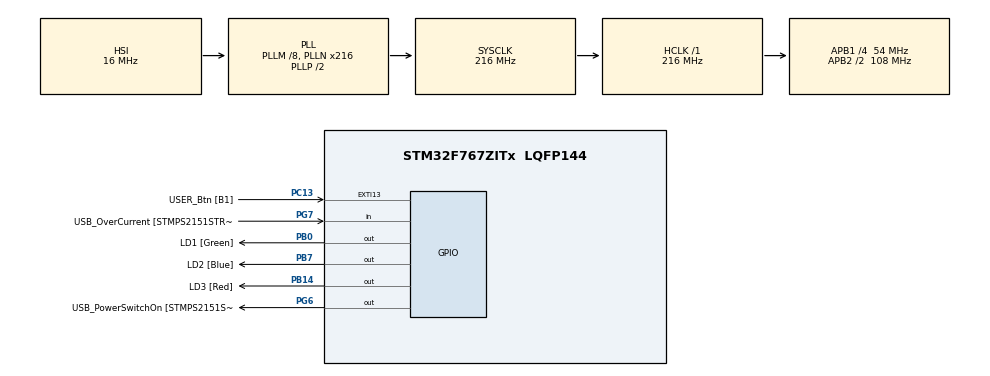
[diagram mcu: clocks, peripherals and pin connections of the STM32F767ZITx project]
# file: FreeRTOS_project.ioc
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Mcu.Family=STM32F7
Mcu.Name=STM32F767ZITx
Mcu.Package=LQFP144
NVIC.PriorityGroup=NVIC_PRIORITYGROUP_4
NVIC.TIM6_DAC_IRQn=true\:0\:0\:true\:false\:true\:false\:true\:true
NVIC.TimeBase=TIM6_DAC_IRQn
NVIC.TimeBaseIP=TIM6
PA1.GPIO_Label=RMII_REF_CLK [LAN8742A-CZ-TR_REFCLK0]
PA1.Signal=ETH_REF_CLK
PA10.GPIO_Label=USB_ID
PA10.Signal=USB_OTG_FS_ID
PA11.GPIO_Label=USB_DM
PA11.Signal=USB_OTG_FS_DM
PA12.GPIO_Label=USB_DP
PA12.Signal=USB_OTG_FS_DP
PA13.GPIO_Label=TMS
PA13.Mode=Serial_Wire
PA13.Signal=SYS_JTMS-SWDIO
PA14.GPIO_Label=TCK
PA14.Mode=Serial_Wire
PA14.Signal=SYS_JTCK-SWCLK
PA2.GPIO_Label=RMII_MDIO [LAN8742A-CZ-TR_MDIO]
PA2.Signal=ETH_MDIO
PA7.GPIO_Label=RMII_CRS_DV [LAN8742A-CZ-TR_CRS_DV]
PA7.Signal=ETH_CRS_DV
PA8.GPIO_Label=USB_SOF [TP1]
PA8.Signal=USB_OTG_FS_SOF
PA9.GPIO_Label=USB_VBUS
PA9.Signal=USB_OTG_FS_VBUS
PB0.GPIO_Label=LD1 [Green]
PB0.Signal=GPIO_Output
PB13.GPIO_Label=RMII_TXD1 [LAN8742A-CZ-TR_TXD1]
PB13.Signal=ETH_TXD1
PB14.GPIO_Label=LD3 [Red]
PB14.Signal=GPIO_Output
PB3.GPIO_Label=SW0
PB3.Signal=SYS_JTDO-SWO
PB7.GPIO_Label=LD2 [Blue]
PB7.Signal=GPIO_Output
PC1.GPIO_Label=RMII_MDC [LAN8742A-CZ-TR_MDC]
PC1.Signal=ETH_MDC
PC13.GPIO_Label=USER_Btn [B1]
PC13.Signal=GPXTI13
PC14/OSC32_IN.Signal=RCC_OSC32_IN
PC15/OSC32_OUT.Signal=RCC_OSC32_OUT
PC4.GPIO_Label=RMII_RXD0 [LAN8742A-CZ-TR_RXD0]
PC4.Signal=ETH_RXD0
PC5.GPIO_Label=RMII_RXD1 [LAN8742A-CZ-TR_RXD1]
PC5.Signal=ETH_RXD1
PD8.GPIO_Label=STLK_RX [STM32F103CBT6_PA3]
PD8.Signal=USART3_TX
PD9.GPIO_Label=STLK_TX [STM32F103CBT6_PA2]
PD9.Signal=USART3_RX
PG11.GPIO_Label=RMII_TX_EN [LAN8742A-CZ-TR_TXEN]
PG11.Signal=ETH_TX_EN
PG13.GPIO_Label=RMII_TXD0 [LAN8742A-CZ-TR_TXD0]
PG13.Signal=ETH_TXD0
PG6.GPIO_Label=USB_PowerSwitchOn [STMPS2151STR_EN]
PG6.Signal=GPIO_Output
PG7.GPIO_Label=USB_OverCurrent [STMPS2151STR_FAULT]
PG7.Signal=GPIO_Input
PH0/OSC_IN.GPIO_Label=MCO [STM32F103CBT6_PA8]
PH0/OSC_IN.Signal=RCC_OSC_IN
PH1/OSC_OUT.Signal=RCC_OSC_OUT
ProjectManager.HeapSize=0x200
ProjectManager.StackSize=0x400
ProjectManager.TargetToolchain=STM32CubeIDE
RCC.48MHZClocksFreq_Value=24000000
RCC.AHBFreq_Value=216000000
RCC.APB1CLKDivider=RCC_HCLK_DIV4
RCC.APB1Freq_Value=54000000
RCC.APB1TimFreq_Value=108000000
RCC.APB2CLKDivider=RCC_HCLK_DIV2
RCC.APB2Freq_Value=108000000
RCC.APB2TimFreq_Value=216000000
RCC.CortexFreq_Value=216000000
RCC.HCLKFreq_Value=216000000
RCC.HSE_VALUE=16000000
RCC.HSI_VALUE=16000000
RCC.LSE_VALUE=32768
RCC.PLLM=8
RCC.PLLMUL=RCC_PLL_MUL9
RCC.PLLN=216
RCC.PRESCALERUSB=RCC_USBCLKSOURCE_PLL_DIV1_5
RCC.SYSCLKFreq_VALUE=216000000
RCC.SYSCLKSource=RCC_SYSCLKSOURCE_PLLCLK
RCC.SYSCLKSourceVirtual=RCC_SYSCLKSOURCE_PLLCLK
RCC.USBFreq_Value=216000000
RCC.VCOOutputFreq_Value=432000000
VP_SYS_VS_tim6.Mode=TIM6
board=NUCLEO-F767ZI

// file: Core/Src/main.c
/* USER CODE BEGIN Header */

/*
 This program is described in the appendix on creating FreeRTOS-projects, and installing FreeRTOS.

 This is an example main.c that runs the FreeRTOS scheduler and two tasks.
 * This main.c was first generated by STM32CubeIDE.
   * The added code is within the "USER CODE BEGIN/END" comments.

 * Code was added to use FreeRTOS. That added code is prefaced by this line-comment:
   // FreeRTOS example-code:

 * Code was added that uses SEGGER_SYSVIEW_PrintfHost.
   * That added code is prefaced by this line-comment:
     // SystemView example-code:

 */

/**
 License:
 - The content generated by STM32CubeIDE is copyrighted (c) 2025 by STMicroelectronics, and it is provided AS IS.
 - Code added for the example-program is copyrighted (c) 2025 Packt Publishing, under the MIT License.
 - See the code-repository's license-statement for more information:
   - https://github.com/PacktPublishing/Hands-On-RTOS-with-Microcontrollers-Second-Edition
 */

/* USER CODE END Header */
#include "main.h"

/* USER CODE BEGIN Includes */

// FreeRTOS example-code:
#include "FreeRTOS.h"
#include "task.h"

// SystemView example-code:
// Include for using SEGGER_SYSVIEW_PrintfHost()
#include "../../Middlewares/Third_Party/SystemView/SEGGER/SEGGER_SYSVIEW.h"

/* USER CODE END Includes */

void SystemClock_Config(void);
static void MX_GPIO_Init(void);
/* USER CODE BEGIN PFP */

// FreeRTOS example-code:
void Task1(void *argument);
void Task2(void *argument);

/* USER CODE END PFP */

int main(void)
{

  /* USER CODE BEGIN 1 */

  // FreeRTOS example-code:
  const static uint32_t stackSize = 128;

  /* USER CODE END 1 */

  /* MCU Configuration--------------------------------------------------------*/

  /* Reset of all peripherals, Initializes the Flash interface and the Systick. */
  HAL_Init();

  /* Configure the system clock */
  SystemClock_Config();

  /* Initialize all configured peripherals */
  MX_GPIO_Init();
  /* USER CODE BEGIN 2 */

  // SystemView example-code:
  // Initialize SEGGER SystemView
  SEGGER_SYSVIEW_Conf();

  // FreeRTOS example-code:
  // Create Task1 and Task2, and start the FreeRTOS scheduler
  // Task1 has higher priority than Task2.
  if ( xTaskCreate(Task1, "task1", stackSize, NULL, tskIDLE_PRIORITY + 3, NULL)
           == pdPASS ) {
      if ( xTaskCreate(Task2, "task2", stackSize, NULL, tskIDLE_PRIORITY + 2,
                       NULL) == pdPASS ) {
          // The scheduler shouldn't return unless there's a problem
          vTaskStartScheduler();
      }
  }

  /* USER CODE END 2 */

  /* Infinite loop */
  while (1)
  {

  }
}

void SystemClock_Config(void)
{
  RCC_OscInitTypeDef RCC_OscInitStruct = {0};
  RCC_ClkInitTypeDef RCC_ClkInitStruct = {0};

  /** Configure the main internal regulator output voltage
  */
  __HAL_RCC_PWR_CLK_ENABLE();
  __HAL_PWR_VOLTAGESCALING_CONFIG(PWR_REGULATOR_VOLTAGE_SCALE1);

  /** Initializes the RCC Oscillators according to the specified parameters
  * in the RCC_OscInitTypeDef structure.
  */
  RCC_OscInitStruct.OscillatorType = RCC_OSCILLATORTYPE_HSI;
  RCC_OscInitStruct.HSIState = RCC_HSI_ON;
  RCC_OscInitStruct.HSICalibrationValue = RCC_HSICALIBRATION_DEFAULT;
  RCC_OscInitStruct.PLL.PLLState = RCC_PLL_ON;
  RCC_OscInitStruct.PLL.PLLSource = RCC_PLLSOURCE_HSI;
  RCC_OscInitStruct.PLL.PLLM = 8;
  RCC_OscInitStruct.PLL.PLLN = 216;
  RCC_OscInitStruct.PLL.PLLP = RCC_PLLP_DIV2;
  RCC_OscInitStruct.PLL.PLLQ = 2;
  RCC_OscInitStruct.PLL.PLLR = 2;
  if (HAL_RCC_OscConfig(&RCC_OscInitStruct) != HAL_OK)
  {
    Error_Handler();
  }

  /** Activate the Over-Drive mode
  */
  if (HAL_PWREx_EnableOverDrive() != HAL_OK)
  {
    Error_Handler();
  }

  /** Initializes the CPU, AHB and APB buses clocks
  */
  RCC_ClkInitStruct.ClockType = RCC_CLOCKTYPE_HCLK|RCC_CLOCKTYPE_SYSCLK
                              |RCC_CLOCKTYPE_PCLK1|RCC_CLOCKTYPE_PCLK2;
  RCC_ClkInitStruct.SYSCLKSource = RCC_SYSCLKSOURCE_PLLCLK;
  RCC_ClkInitStruct.AHBCLKDivider = RCC_SYSCLK_DIV1;
  RCC_ClkInitStruct.APB1CLKDivider = RCC_HCLK_DIV4;
  RCC_ClkInitStruct.APB2CLKDivider = RCC_HCLK_DIV2;

  if (HAL_RCC_ClockConfig(&RCC_ClkInitStruct, FLASH_LATENCY_7) != HAL_OK)
  {
    Error_Handler();
  }
}

static void MX_GPIO_Init(void)
{
  GPIO_InitTypeDef GPIO_InitStruct = {0};

  /* GPIO Ports Clock Enable */
  __HAL_RCC_GPIOC_CLK_ENABLE();
  __HAL_RCC_GPIOH_CLK_ENABLE();
  __HAL_RCC_GPIOA_CLK_ENABLE();
  __HAL_RCC_GPIOB_CLK_ENABLE();
  __HAL_RCC_GPIOD_CLK_ENABLE();
  __HAL_RCC_GPIOG_CLK_ENABLE();

  /*Configure GPIO pin Output Level */
  HAL_GPIO_WritePin(GPIOB, LD1_Pin|LD3_Pin|LD2_Pin, GPIO_PIN_RESET);

  /*Configure GPIO pin Output Level */
  HAL_GPIO_WritePin(USB_PowerSwitchOn_GPIO_Port, USB_PowerSwitchOn_Pin, GPIO_PIN_RESET);

  /*Configure GPIO pin : USER_Btn_Pin */
  GPIO_InitStruct.Pin = USER_Btn_Pin;
  GPIO_InitStruct.Mode = GPIO_MODE_IT_RISING;
  GPIO_InitStruct.Pull = GPIO_NOPULL;
  HAL_GPIO_Init(USER_Btn_GPIO_Port, &GPIO_InitStruct);

  /*Configure GPIO pins : RMII_MDC_Pin RMII_RXD0_Pin RMII_RXD1_Pin */
  GPIO_InitStruct.Pin = RMII_MDC_Pin|RMII_RXD0_Pin|RMII_RXD1_Pin;
  GPIO_InitStruct.Mode = GPIO_MODE_AF_PP;
  GPIO_InitStruct.Pull = GPIO_NOPULL;
  GPIO_InitStruct.Speed = GPIO_SPEED_FREQ_VERY_HIGH;
  GPIO_InitStruct.Alternate = GPIO_AF11_ETH;
  HAL_GPIO_Init(GPIOC, &GPIO_InitStruct);

  /*Configure GPIO pins : RMII_REF_CLK_Pin RMII_MDIO_Pin RMII_CRS_DV_Pin */
  GPIO_InitStruct.Pin = RMII_REF_CLK_Pin|RMII_MDIO_Pin|RMII_CRS_DV_Pin;
  GPIO_InitStruct.Mode = GPIO_MODE_AF_PP;
  GPIO_InitStruct.Pull = GPIO_NOPULL;
  GPIO_InitStruct.Speed = GPIO_SPEED_FREQ_VERY_HIGH;
  GPIO_InitStruct.Alternate = GPIO_AF11_ETH;
  HAL_GPIO_Init(GPIOA, &GPIO_InitStruct);

  /*Configure GPIO pins : LD1_Pin LD3_Pin LD2_Pin */
  GPIO_InitStruct.Pin = LD1_Pin|LD3_Pin|LD2_Pin;
  GPIO_InitStruct.Mode = GPIO_MODE_OUTPUT_PP;
  GPIO_InitStruct.Pull = GPIO_NOPULL;
  GPIO_InitStruct.Speed = GPIO_SPEED_FREQ_LOW;
  HAL_GPIO_Init(GPIOB, &GPIO_InitStruct);

  /*Configure GPIO pin : RMII_TXD1_Pin */
  GPIO_InitStruct.Pin = RMII_TXD1_Pin;
  GPIO_InitStruct.Mode = GPIO_MODE_AF_PP;
  GPIO_InitStruct.Pull = GPIO_NOPULL;
  GPIO_InitStruct.Speed = GPIO_SPEED_FREQ_VERY_HIGH;
  GPIO_InitStruct.Alternate = GPIO_AF11_ETH;
  HAL_GPIO_Init(RMII_TXD1_GPIO_Port, &GPIO_InitStruct);

  /*Configure GPIO pins : STLK_RX_Pin STLK_TX_Pin */
  GPIO_InitStruct.Pin = STLK_RX_Pin|STLK_TX_Pin;
  GPIO_InitStruct.Mode = GPIO_MODE_AF_PP;
  GPIO_InitStruct.Pull = GPIO_NOPULL;
  GPIO_InitStruct.Speed = GPIO_SPEED_FREQ_VERY_HIGH;
  GPIO_InitStruct.Alternate = GPIO_AF7_USART3;
  HAL_GPIO_Init(GPIOD, &GPIO_InitStruct);

  /*Configure GPIO pin : USB_PowerSwitchOn_Pin */
  GPIO_InitStruct.Pin = USB_PowerSwitchOn_Pin;
  GPIO_InitStruct.Mode = GPIO_MODE_OUTPUT_PP;
  GPIO_InitStruct.Pull = GPIO_NOPULL;
  GPIO_InitStruct.Speed = GPIO_SPEED_FREQ_LOW;
  HAL_GPIO_Init(USB_PowerSwitchOn_GPIO_Port, &GPIO_InitStruct);

  /*Configure GPIO pin : USB_OverCurrent_Pin */
  GPIO_InitStruct.Pin = USB_OverCurrent_Pin;
  GPIO_InitStruct.Mode = GPIO_MODE_INPUT;
  GPIO_InitStruct.Pull = GPIO_NOPULL;
  HAL_GPIO_Init(USB_OverCurrent_GPIO_Port, &GPIO_InitStruct);

  /*Configure GPIO pins : USB_SOF_Pin USB_ID_Pin USB_DM_Pin USB_DP_Pin */
  GPIO_InitStruct.Pin = USB_SOF_Pin|USB_ID_Pin|USB_DM_Pin|USB_DP_Pin;
  GPIO_InitStruct.Mode = GPIO_MODE_AF_PP;
  GPIO_InitStruct.Pull = GPIO_NOPULL;
  GPIO_InitStruct.Speed = GPIO_SPEED_FREQ_VERY_HIGH;
  GPIO_InitStruct.Alternate = GPIO_AF10_OTG_FS;
  HAL_GPIO_Init(GPIOA, &GPIO_InitStruct);

  /*Configure GPIO pin : USB_VBUS_Pin */
  GPIO_InitStruct.Pin = USB_VBUS_Pin;
  GPIO_InitStruct.Mode = GPIO_MODE_INPUT;
  GPIO_InitStruct.Pull = GPIO_NOPULL;
  HAL_GPIO_Init(USB_VBUS_GPIO_Port, &GPIO_InitStruct);

  /*Configure GPIO pins : RMII_TX_EN_Pin RMII_TXD0_Pin */
  GPIO_InitStruct.Pin = RMII_TX_EN_Pin|RMII_TXD0_Pin;
  GPIO_InitStruct.Mode = GPIO_MODE_AF_PP;
  GPIO_InitStruct.Pull = GPIO_NOPULL;
  GPIO_InitStruct.Speed = GPIO_SPEED_FREQ_VERY_HIGH;
  GPIO_InitStruct.Alternate = GPIO_AF11_ETH;
  HAL_GPIO_Init(GPIOG, &GPIO_InitStruct);

}

/* USER CODE BEGIN 4 */

// FreeRTOS example-code:
// FreeRTOS task:
// * Turns on the blue LED, to indicate the FreeRTOS scheduler has started.
// * If the code that uses SystemView is un-commented:
//   * When the task is started, it spins until the SystemView app is started, in Record-mode
// * The task flashes the green LED
void Task1(void *argument) {

    uint32_t iterationCount = 0;

    // Turn on the blue LED, to indicate the FreeRTOS scheduler has started.
    // * LD1 and LD2 are specified in the dev-board's "User Manual"
    HAL_GPIO_WritePin(LD2_GPIO_Port, LD2_Pin, GPIO_PIN_SET);

    // SystemView example-code:
    // The SystemView app's Record-mode must be started after the FreeRTOS scheduler is started.
    // To get all of the SEGGER_SYSVIEW_PrintfHost() messages, spin until Record mode is started.
    while(SEGGER_SYSVIEW_IsStarted()==0);
    SEGGER_SYSVIEW_PrintfHost("Task1: loop starting...\n");

    for (;;) {
        // Toggle the green LED
        HAL_GPIO_TogglePin(LD1_GPIO_Port, LD1_Pin);

        iterationCount++;

        // SystemView example-code:
        // Generate SystemView message
        SEGGER_SYSVIEW_PrintfHost("Task1: LED toggled. Iteration: %u\n", iterationCount);

        // Delay 500ms
        vTaskDelay(500 / portTICK_PERIOD_MS);
    }
}

// FreeRTOS example-code:
// FreeRTOS task:
// * In Task1, if its code that uses SystemView is un-commented:
//   * Task2 will not run until Task1 detects the SystemView app is started in Record mode.
// * Task2 flashes the red LED
void Task2(void *argument) {

    uint32_t iterationCount = 0;

    for (;;) {
        // Toggle the red LED
        HAL_GPIO_TogglePin(LD3_GPIO_Port, LD3_Pin);

        // Generate SystemView message
        iterationCount++;

        // SystemView example-code:
        SEGGER_SYSVIEW_PrintfHost("Task2: LED toggled. Iteration: %u\n", iterationCount);

        // Delay 500ms
        vTaskDelay(500 / portTICK_PERIOD_MS);
    }
}

/* USER CODE END 4 */

void HAL_TIM_PeriodElapsedCallback(TIM_HandleTypeDef *htim)
{
  if (htim->Instance == TIM6)
  {
    HAL_IncTick();
  }
}

void Error_Handler(void)
{
  __disable_irq();
  while (1)
  {
  }
}
